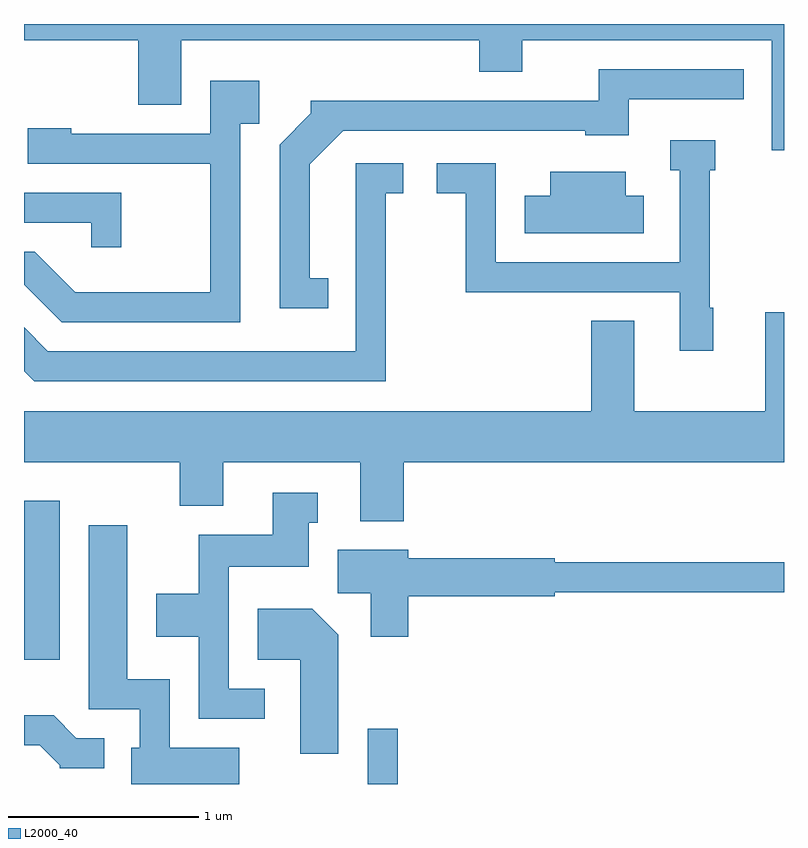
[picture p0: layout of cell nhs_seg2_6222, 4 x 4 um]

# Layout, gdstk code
import gdstk
lib = gdstk.Library(unit=1e-6, precision=1e-09)
def R(c, l, rs):  # rectangles x0, y0, x1, y1
    for r in rs: c.add(gdstk.rectangle(r[:2], r[2:], *l))
def P(c, l, *ps):  # polygons
    for p in ps: c.add(gdstk.Polygon(p, *l))
L2000_40 = (2000, 40)

nhs_seg2_6222 = lib.new_cell('nhs_seg2_6222')
R(nhs_seg2_6222, L2000_40, [(371.421,977.802,371.579,978.093), (369.611,978.456,369.799,979.294)])
P(nhs_seg2_6222, L2000_40, [(373.611,981.802),(369.611,981.802),(369.611,981.716),(370.211,981.716),(370.211,981.376),(370.439,981.376),(370.439,981.716),(372.006,981.716),(372.006,981.551),(372.234,981.551),(372.234,981.716),(373.546,981.716),(373.546,981.138),(373.611,981.138)],
  [(371.213,980.464),(371.114,980.464),(371.114,981.064),(371.292,981.241),(372.566,981.241),(372.566,981.216),(372.794,981.216),(372.794,981.406),(373.398,981.406),(373.398,981.564),(372.636,981.564),(372.636,981.399),(371.121,981.399),(371.121,981.332),(370.956,981.167),(370.956,980.306),(371.213,980.306)],
  [(370.749,981.276),(370.849,981.276),(370.849,981.504),(370.591,981.504),(370.591,981.224),(369.859,981.224),(369.859,981.254),(369.631,981.254),(369.631,981.066),(370.591,981.066),(370.591,980.389),(369.882,980.389),(369.667,980.604),(369.611,980.604),(369.611,980.429),(369.809,980.231),(370.749,980.231)],
  [(373.239,980.309),(373.219,980.309),(373.219,981.031),(373.249,981.031),(373.249,981.189),(373.013,981.189),(373.013,981.031),(373.061,981.031),(373.061,980.549),(372.094,980.549),(372.094,981.069),(371.783,981.069),(371.783,980.911),(371.936,980.911),(371.936,980.391),(373.061,980.391),(373.061,980.081),(373.239,980.081)],
  [(371.514,980.911),(371.608,980.911),(371.608,981.069),(371.356,981.069),(371.356,980.079),(369.737,980.079),(369.611,980.205),(369.611,979.974),(369.664,979.921),(371.514,979.921)],
  [(372.874,980.899),(372.779,980.899),(372.779,981.024),(372.381,981.024),(372.381,980.899),(372.246,980.899),(372.246,980.701),(372.874,980.701)],
  [(370.124,980.914),(369.611,980.914),(369.611,980.756),(369.966,980.756),(369.966,980.628),(370.124,980.628)],
  [(371.609,979.496),(373.611,979.496),(373.611,980.284),(373.511,980.284),(373.511,979.764),(372.824,979.764),(372.824,980.239),(372.596,980.239),(372.596,979.764),(369.611,979.764),(369.611,979.496),(370.431,979.496),(370.431,979.266),(370.659,979.266),(370.659,979.496),(371.381,979.496),(371.381,979.186),(371.609,979.186)],
  [(370.878,978.304),(370.689,978.304),(370.689,978.946),(371.109,978.946),(371.109,979.176),(371.158,979.176),(371.158,979.334),(370.921,979.334),(370.921,979.114),(370.531,979.114),(370.531,978.804),(370.306,978.804),(370.306,978.576),(370.531,978.576),(370.531,978.146),(370.878,978.146)],
  [(370.744,977.994),(370.379,977.994),(370.379,978.354),(370.154,978.354),(370.154,979.164),(369.951,979.164),(369.951,978.196),(370.221,978.196),(370.221,977.994),(370.176,977.994),(370.176,977.802),(370.744,977.802)],
  [(371.634,978.791),(372.404,978.791),(372.404,978.811),(373.611,978.811),(373.611,978.969),(372.404,978.969),(372.404,978.989),(371.634,978.989),(371.634,979.034),(371.261,979.034),(371.261,978.806),(371.436,978.806),(371.436,978.576),(371.634,978.576)],
  [(371.264,978.587),(371.127,978.724),(370.841,978.724),(370.841,978.456),(371.066,978.456),(371.066,977.961),(371.264,977.961)],
  [(370.033,978.044),(369.887,978.044),(369.767,978.164),(369.611,978.164),(369.611,978.006),(369.694,978.006),(369.8,977.9),(369.8,977.886),(370.033,977.886)])

lib.write_gds('nhs_seg2_6222.gds')
